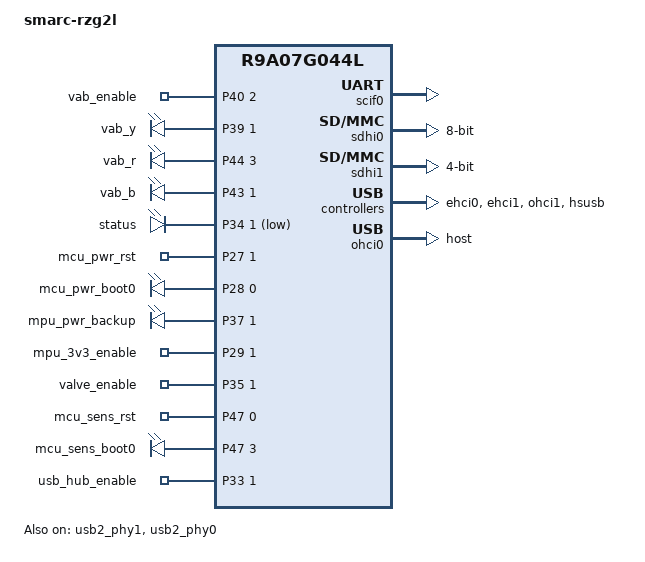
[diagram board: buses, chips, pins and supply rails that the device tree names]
// SPDX-License-Identifier: GPL-2.0
/*
 * Device Tree Source for the GR-Peach board
 *
 * Copyright (C) 2017 Jacopo Mondi <jacopo+renesas@jmondi.org>
 * Copyright (C) 2016 Renesas Electronics
 */

/dts-v1/;
#include <dt-bindings/gpio/gpio.h>
#include "r9a07g044l.dtsi"
#include "r9a07g044l-u-boot.dtsi"
#include <dt-bindings/pinctrl/rzg2l-pinctrl.h>

/ {
	model = "smarc-rzg2l";
	compatible = "renesas,r9a07g044l", "renesas,rzg2l";

	aliases {
		serial0 = &scif0;
	};

	chosen {
		stdout-path = "serial0:115200n8";
	};

	leds {
		
		compatible = "gpio-leds";
		gpio0 {
			gpios = <&P40 2 GPIO_ACTIVE_HIGH>; //98
			label = "vab_enable";
			default-state = "on";
			linux,default-trigger = "none";
		};
        led1 {
			gpios = <&P39 1 GPIO_ACTIVE_HIGH>; // 97
			label = "vab_y";
			default-state = "on";
			linux,default-trigger = "none";
		};
        led2 {
			gpios = <&P44 3  GPIO_ACTIVE_HIGH>;  //96
			label = "vab_r";
			default-state = "off";
			linux,default-trigger = "none";
		};
        led3 {
			gpios = <&P43 1  GPIO_ACTIVE_HIGH>; //95
			label = "vab_b";
			default-state = "off";
			linux,default-trigger = "none";
		};
		led4 {
			gpios = <&P34 1 GPIO_ACTIVE_LOW>; //38
			label = "status";
			default-state = "on";
			linux,default-trigger = "none";
		};
        gpio1 {
			gpios = <&P27 1 GPIO_ACTIVE_HIGH>; //22
			label = "mcu_pwr_rst";
			default-state = "off";
			linux,default-trigger = "none";
		};
        gpio2 {
			gpios = <&P28 0 GPIO_ACTIVE_HIGH>; // 23
			label = "mcu_pwr_boot0";
			default-state = "off";
			linux,default-trigger = "none";
		};
        gpio3 {
			gpios = <&P37 1 GPIO_ACTIVE_HIGH>; // 25
			label = "mpu_pwr_backup";
			default-state = "off";
			linux,default-trigger = "none";
		};
        gpio4 {
			gpios = <&P29 1  GPIO_ACTIVE_HIGH>; // 26
			label = "mpu_3v3_enable";
			default-state = "on";
			linux,default-trigger = "none";
		};
        gpio7 {
			gpios = <&P35 1 GPIO_ACTIVE_HIGH>;  //36
			label = "valve_enable";
			default-state = "off";
			linux,default-trigger = "none";
		};
        gpio9 {
			gpios = <&P47 0 GPIO_ACTIVE_HIGH>;  //113
			label = "mcu_sens_rst";
			default-state = "off";
			linux,default-trigger = "none";
		};
        gpio10 {
			gpios = <&P47 3 GPIO_ACTIVE_HIGH>;  //114
			label = "mcu_sens_boot0";
			default-state = "off";
			linux,default-trigger = "none";
		};

		gpio11 {
			gpios = <&P33 1 GPIO_ACTIVE_HIGH>;  //34
			label = "usb_hub_enable";
			default-state = "on";
			linux,default-trigger = "none";
		};
	};

};

&pinctrl {

	i2c1_pins: i2c1 {
		pinmux = <RZG2L_PINMUX(14, 2, 1)>,
				<RZG2L_PINMUX(14, 3, 1)>;
	};

};

&xinclk {
        clock-frequency = <24000000>;
};

&scif0 {
	status = "okay";
	clock = <100000000>;
};

&sdhi0 {
	/* pinctrl placeholder
	 * If this channel is used for interfacing with a SD card, a power enable
	 * pin (SD0_PWR_EN) must be defined.
	 * The SD0_PWR_EN pin is associated with P4_1.
	 * A HIGH signal on SD0_PWR_EN will enable supply voltage for SD card.
	*/
	bus-width = <8>;
	status = "okay";
};

&sdhi1 {
	/* pinctrl placeholder
	 * A power enable pin (SD1_PWR_EN) must be defined to interface with a
	 * SD card.
	 * The SD1_PWR_EN pin is associated with P39_2.
	 * A HIGH signal on SD1_PWR_EN will enable supply voltage for SD card.
	*/
	bus-width = <4>;
	status = "okay";
};




&i2c1 {
	pinctrl-names = "default";
	pinctrl-0 = <&i2c1_pins>;
	status = "disabled";

	
};


&ehci0 {
	
	status="okay";
};

&ohci0 {
	
	dr_mode = "host";
	status = "okay";
};

&ehci1 {
	
	status = "okay";
};

&ohci1 {
	
	status = "okay";
};

&hsusb {
        status = "okay";
};

&usb2_phy1 {
        status = "okay";
};

&usb2_phy0 {
        status = "okay";
};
